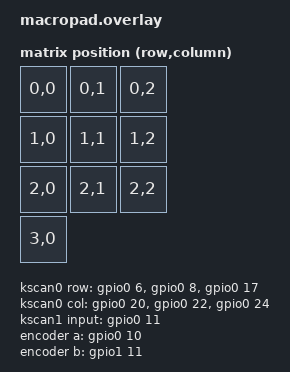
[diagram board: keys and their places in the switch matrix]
#include <dt-bindings/zmk/matrix_transform.h>

/ {
    chosen {
        zmk,kscan = &kscan_composite;
        zmk,matrix-transform = &default_transform;
    };

    default_transform: keymap_transform_0 {
        compatible = "zmk,matrix-transform";
        columns = <3>;
        rows = <4>;
        map = <
            RC(0,0) RC(0,1) RC(0,2)
            RC(1,0) RC(1,1) RC(1,2)
            RC(2,0) RC(2,1) RC(2,2)
            RC(3,0)
        >;
    };

    kscan0: kscan_matrix {
        compatible = "zmk,kscan-gpio-matrix";
        diode-direction = "row2col";

        col-gpios
            = <&gpio0 20 (GPIO_ACTIVE_HIGH | GPIO_PULL_DOWN)>
            , <&gpio0 22 (GPIO_ACTIVE_HIGH | GPIO_PULL_DOWN)>
            , <&gpio0 24 (GPIO_ACTIVE_HIGH | GPIO_PULL_DOWN)>
            ;

        row-gpios
            = <&gpio0 6  GPIO_ACTIVE_HIGH>
            , <&gpio0 8  GPIO_ACTIVE_HIGH>
            , <&gpio0 17 GPIO_ACTIVE_HIGH>
            ;
    };

    kscan1: kscan_direct {
        compatible = "zmk,kscan-gpio-direct";
        input-gpios
            = <&gpio0 11 (GPIO_ACTIVE_LOW | GPIO_PULL_UP)>
            ;
    };

    kscan_composite: kscan_composite {
        compatible = "zmk,kscan-composite";
        rows = <4>;
        columns = <3>;

        matrix {
            kscan = <&kscan0>;
        };

        direct {
            kscan = <&kscan1>;
            row-offset = <3>;
        };
    };

    encoder: encoder {
        compatible = "alps,ec11";
        a-gpios = <&gpio0 10 (GPIO_ACTIVE_HIGH | GPIO_PULL_UP)>;
        b-gpios = <&gpio1 11 (GPIO_ACTIVE_HIGH | GPIO_PULL_UP)>;
        steps = <80>;
        status = "okay";
    };

    sensors: sensors {
        compatible = "zmk,keymap-sensors";
        sensors = <&encoder>;
        triggers-per-rotation = <20>;
    };
};
